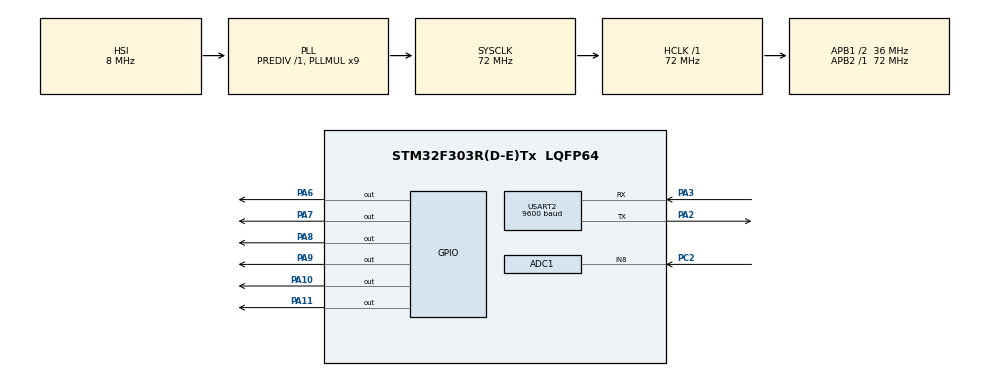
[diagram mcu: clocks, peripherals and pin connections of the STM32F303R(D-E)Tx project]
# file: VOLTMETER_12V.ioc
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ADC1.Channel-6\#ChannelRegularConversion=ADC_CHANNEL_8
ADC1.ContinuousConvMode=ENABLE
ADC1.EOCSelection=ADC_EOC_SEQ_CONV
ADC1.NbrOfConversionFlag=1
ADC1.Offset-6\#ChannelRegularConversion=0
ADC1.OffsetNumber-6\#ChannelRegularConversion=ADC_OFFSET_NONE
ADC1.Rank-6\#ChannelRegularConversion=1
ADC1.Resolution=ADC_RESOLUTION_12B
ADC1.SamplingTime-6\#ChannelRegularConversion=ADC_SAMPLETIME_1CYCLE_5
ADC1.SamplingTimeOPAMP-6\#ChannelRegularConversion=ADC_SAMPLETIME_61CYCLES_5
ADC1.master=1
Mcu.Family=STM32F3
Mcu.Name=STM32F303R(D-E)Tx
Mcu.Package=LQFP64
NVIC.PriorityGroup=NVIC_PRIORITYGROUP_4
PA10.Signal=GPIO_Output
PA11.Signal=GPIO_Output
PA2.Mode=Asynchronous
PA2.Signal=USART2_TX
PA3.Mode=Asynchronous
PA3.Signal=USART2_RX
PA6.Signal=GPIO_Output
PA7.Signal=GPIO_Output
PA8.Signal=GPIO_Output
PA9.Signal=GPIO_Output
PC2.Signal=ADCx_IN8
ProjectManager.HeapSize=0x200
ProjectManager.StackSize=0x400
ProjectManager.TargetToolchain=STM32CubeIDE
RCC.AHBFreq_Value=72000000
RCC.APB1CLKDivider=RCC_HCLK_DIV2
RCC.APB1Freq_Value=36000000
RCC.APB1TimFreq_Value=72000000
RCC.APB2Freq_Value=72000000
RCC.APB2TimFreq_Value=72000000
RCC.CortexFreq_Value=72000000
RCC.HCLKFreq_Value=72000000
RCC.HSE_VALUE=8000000
RCC.HSI_VALUE=8000000
RCC.LSE_VALUE=32768
RCC.PLLMUL=RCC_PLL_MUL9
RCC.SYSCLKFreq_VALUE=72000000
RCC.SYSCLKSourceVirtual=RCC_SYSCLKSOURCE_PLLCLK
RCC.USBFreq_Value=72000000
SH.ADCx_IN8.0=ADC1_IN8,IN8-Single-Ended
USART2.BaudRate=9600
USART2.VirtualMode-Asynchronous=VM_ASYNC
board=custom

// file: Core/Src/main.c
/* USER CODE BEGIN Header */
/**
  ******************************************************************************
  * @file           : main.c
  * @brief          : Main program body
  ******************************************************************************
  * @attention
  *
  * Copyright (c) 2024 STMicroelectronics.
  * All rights reserved.
  *
  * This software is licensed under terms that can be found in the LICENSE file
  * in the root directory of this software component.
  * If no LICENSE file comes with this software, it is provided AS-IS.
  *
  ******************************************************************************
  */
/* USER CODE END Header */
#include "main.h"

/* USER CODE BEGIN Includes */
#include "string.h"
#include "stdlib.h"
#include "stdio.h"
#include "LCD.h"
/* USER CODE END Includes */

/* USER CODE BEGIN PM */
uint32_t adcResult = 0;

/* USER CODE END PM */

ADC_HandleTypeDef hadc1;

UART_HandleTypeDef huart2;

void SystemClock_Config(void);
static void MX_GPIO_Init(void);
static void MX_ADC1_Init(void);
static void MX_USART2_UART_Init(void);

/* USER CODE BEGIN 0 */
//
// This function displays text
//
void UART_SEND_TXT(UART_HandleTypeDef *huart, char buffer[], int m)
{
	HAL_UART_Transmit(huart, (uint8_t*) buffer, strlen(buffer), HAL_MAX_DELAY);
	if(m == 1) HAL_UART_Transmit(huart, (uint8_t*) "\n\r", 2, HAL_MAX_DELAY);
}

//
// This function displays character
//
void UART_SEND_CHR(UART_HandleTypeDef *huart, char c, int m)
{
	HAL_UART_Transmit(huart, (uint8_t*)&c, 1, HAL_MAX_DELAY);
	if(m == 1) HAL_UART_Transmit(huart, (uint8_t*) "\n\r", 2, HAL_MAX_DELAY);
}

//
// This function displays a new-line
//
void UART_SEND_NL(UART_HandleTypeDef *huart)
{
	HAL_UART_Transmit(huart, (uint8_t*)"\n\r", 2, HAL_MAX_DELAY);
}

//
// This function display an integer number
//
void UART_SEND_INT(UART_HandleTypeDef *huart, int i, int m)
{
	char buffer[10];
	itoa(i, buffer, 10);
	HAL_UART_Transmit(huart, (uint8_t*) buffer, strlen(buffer), HAL_MAX_DELAY);
	if(m == 1) HAL_UART_Transmit(huart, (uint8_t*) "\n\r", 2, HAL_MAX_DELAY);
}

//
// This function display a float number
//
void UART_SEND_FLT(UART_HandleTypeDef *huart, float p, int m)
{
	char buffer[10];
	sprintf(buffer, "%8.2f", p);
	HAL_UART_Transmit(huart, (uint8_t*) buffer, strlen(buffer), HAL_MAX_DELAY);
	if(m == 1) HAL_UART_Transmit(huart, (uint8_t*) "\n\r", 2, HAL_MAX_DELAY);
}

/* USER CODE END 0 */

int main(void)
{
  /* USER CODE BEGIN 1 */
	float mv;
	char buff[12];
	float Vref = 3280.0;
	float k = Vref / 4095.0;
	float kr = 4.18; // Voltage divider, max 12V, R2 3.27 kohm, R1 7 kohm

  /* USER CODE END 1 */

  /* MCU Configuration--------------------------------------------------------*/

  /* Reset of all peripherals, Initializes the Flash interface and the Systick. */
  HAL_Init();

  /* Configure the system clock */
  SystemClock_Config();

  /* Initialize all configured peripherals */
  MX_GPIO_Init();
  MX_ADC1_Init();
  MX_USART2_UART_Init();
  /* USER CODE BEGIN 2 */
  HAL_ADC_Start(&hadc1);

  /* USER CODE END 2 */

  /* Infinite loop */
  while (1)
  {

    /* USER CODE BEGIN 3 */
	  HAL_ADC_PollForConversion(&hadc1, 100);
	  adcResult = HAL_ADC_GetValue(&hadc1);
	  mv = ((float)adcResult) * k*kr;
	  lcd_clear();
	  lcd_puts("Voltmeter");
	  lcd_goto(0, 1);
	  sprintf(buff, "%8.2f", mv);
	  //UART_SEND_TXT(&huart2, buff , 1);
	  //UART_SEND_FLT(&huart2, mv , 1);
	  lcd_puts(buff);
	  HAL_Delay(1000);
  }
  /* USER CODE END 3 */
}

void SystemClock_Config(void)
{
  RCC_OscInitTypeDef RCC_OscInitStruct = {0};
  RCC_ClkInitTypeDef RCC_ClkInitStruct = {0};
  RCC_PeriphCLKInitTypeDef PeriphClkInit = {0};

  /** Initializes the RCC Oscillators according to the specified parameters
  * in the RCC_OscInitTypeDef structure.
  */
  RCC_OscInitStruct.OscillatorType = RCC_OSCILLATORTYPE_HSI;
  RCC_OscInitStruct.HSIState = RCC_HSI_ON;
  RCC_OscInitStruct.HSICalibrationValue = RCC_HSICALIBRATION_DEFAULT;
  RCC_OscInitStruct.PLL.PLLState = RCC_PLL_ON;
  RCC_OscInitStruct.PLL.PLLSource = RCC_PLLSOURCE_HSI;
  RCC_OscInitStruct.PLL.PLLMUL = RCC_PLL_MUL9;
  RCC_OscInitStruct.PLL.PREDIV = RCC_PREDIV_DIV1;
  if (HAL_RCC_OscConfig(&RCC_OscInitStruct) != HAL_OK)
  {
    Error_Handler();
  }

  /** Initializes the CPU, AHB and APB buses clocks
  */
  RCC_ClkInitStruct.ClockType = RCC_CLOCKTYPE_HCLK|RCC_CLOCKTYPE_SYSCLK
                              |RCC_CLOCKTYPE_PCLK1|RCC_CLOCKTYPE_PCLK2;
  RCC_ClkInitStruct.SYSCLKSource = RCC_SYSCLKSOURCE_PLLCLK;
  RCC_ClkInitStruct.AHBCLKDivider = RCC_SYSCLK_DIV1;
  RCC_ClkInitStruct.APB1CLKDivider = RCC_HCLK_DIV2;
  RCC_ClkInitStruct.APB2CLKDivider = RCC_HCLK_DIV1;

  if (HAL_RCC_ClockConfig(&RCC_ClkInitStruct, FLASH_LATENCY_2) != HAL_OK)
  {
    Error_Handler();
  }
  PeriphClkInit.PeriphClockSelection = RCC_PERIPHCLK_USART2|RCC_PERIPHCLK_ADC12;
  PeriphClkInit.Usart2ClockSelection = RCC_USART2CLKSOURCE_PCLK1;
  PeriphClkInit.Adc12ClockSelection = RCC_ADC12PLLCLK_DIV1;
  if (HAL_RCCEx_PeriphCLKConfig(&PeriphClkInit) != HAL_OK)
  {
    Error_Handler();
  }
}

static void MX_ADC1_Init(void)
{

  ADC_MultiModeTypeDef multimode = {0};
  ADC_ChannelConfTypeDef sConfig = {0};

  /** Common config
  */
  hadc1.Instance = ADC1;
  hadc1.Init.ClockPrescaler = ADC_CLOCK_ASYNC_DIV1;
  hadc1.Init.Resolution = ADC_RESOLUTION_12B;
  hadc1.Init.ScanConvMode = ADC_SCAN_DISABLE;
  hadc1.Init.ContinuousConvMode = ENABLE;
  hadc1.Init.DiscontinuousConvMode = DISABLE;
  hadc1.Init.ExternalTrigConvEdge = ADC_EXTERNALTRIGCONVEDGE_NONE;
  hadc1.Init.ExternalTrigConv = ADC_SOFTWARE_START;
  hadc1.Init.DataAlign = ADC_DATAALIGN_RIGHT;
  hadc1.Init.NbrOfConversion = 1;
  hadc1.Init.DMAContinuousRequests = DISABLE;
  hadc1.Init.EOCSelection = ADC_EOC_SEQ_CONV;
  hadc1.Init.LowPowerAutoWait = DISABLE;
  hadc1.Init.Overrun = ADC_OVR_DATA_OVERWRITTEN;
  if (HAL_ADC_Init(&hadc1) != HAL_OK)
  {
    Error_Handler();
  }

  /** Configure the ADC multi-mode
  */
  multimode.Mode = ADC_MODE_INDEPENDENT;
  if (HAL_ADCEx_MultiModeConfigChannel(&hadc1, &multimode) != HAL_OK)
  {
    Error_Handler();
  }

  /** Configure Regular Channel
  */
  sConfig.Channel = ADC_CHANNEL_8;
  sConfig.Rank = ADC_REGULAR_RANK_1;
  sConfig.SingleDiff = ADC_SINGLE_ENDED;
  sConfig.SamplingTime = ADC_SAMPLETIME_1CYCLE_5;
  sConfig.OffsetNumber = ADC_OFFSET_NONE;
  sConfig.Offset = 0;
  if (HAL_ADC_ConfigChannel(&hadc1, &sConfig) != HAL_OK)
  {
    Error_Handler();
  }

}

static void MX_USART2_UART_Init(void)
{

  huart2.Instance = USART2;
  huart2.Init.BaudRate = 9600;
  huart2.Init.WordLength = UART_WORDLENGTH_8B;
  huart2.Init.StopBits = UART_STOPBITS_1;
  huart2.Init.Parity = UART_PARITY_NONE;
  huart2.Init.Mode = UART_MODE_TX_RX;
  huart2.Init.HwFlowCtl = UART_HWCONTROL_NONE;
  huart2.Init.OverSampling = UART_OVERSAMPLING_16;
  huart2.Init.OneBitSampling = UART_ONE_BIT_SAMPLE_DISABLE;
  huart2.AdvancedInit.AdvFeatureInit = UART_ADVFEATURE_NO_INIT;
  if (HAL_UART_Init(&huart2) != HAL_OK)
  {
    Error_Handler();
  }

}

static void MX_GPIO_Init(void)
{
  GPIO_InitTypeDef GPIO_InitStruct = {0};

  /* GPIO Ports Clock Enable */
  __HAL_RCC_GPIOC_CLK_ENABLE();
  __HAL_RCC_GPIOA_CLK_ENABLE();

  /*Configure GPIO pin Output Level */
  HAL_GPIO_WritePin(GPIOA, GPIO_PIN_6|GPIO_PIN_7|GPIO_PIN_8|GPIO_PIN_9
                          |GPIO_PIN_10|GPIO_PIN_11, GPIO_PIN_RESET);

  /*Configure GPIO pins : PA6 PA7 PA8 PA9
                           PA10 PA11 */
  GPIO_InitStruct.Pin = GPIO_PIN_6|GPIO_PIN_7|GPIO_PIN_8|GPIO_PIN_9
                          |GPIO_PIN_10|GPIO_PIN_11;
  GPIO_InitStruct.Mode = GPIO_MODE_OUTPUT_PP;
  GPIO_InitStruct.Pull = GPIO_NOPULL;
  GPIO_InitStruct.Speed = GPIO_SPEED_FREQ_LOW;
  HAL_GPIO_Init(GPIOA, &GPIO_InitStruct);

}

void Error_Handler(void)
{
  __disable_irq();
  while (1)
  {
  }
}
